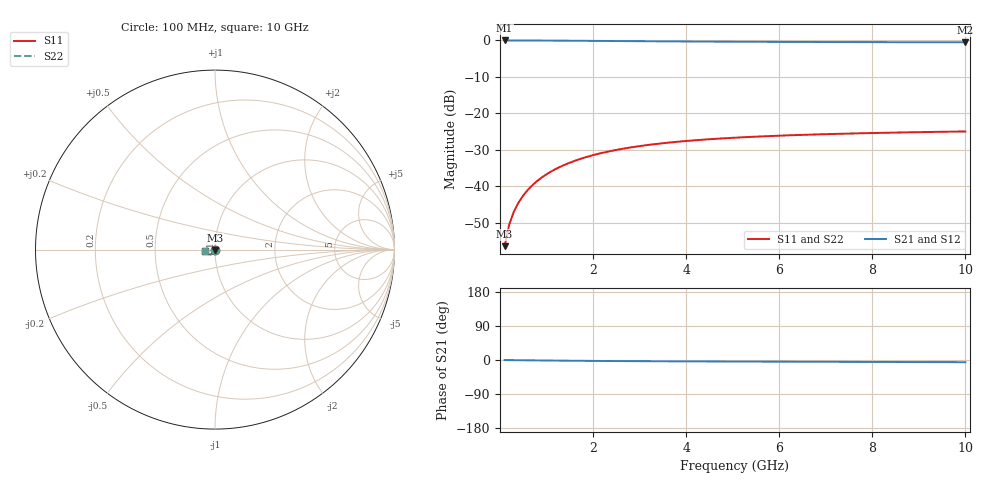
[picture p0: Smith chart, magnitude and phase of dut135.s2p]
! Touchstone file exported from HFSS 2024.1.0
!  File:  C:/UserFiles/LocalFiles/RDL_TSV_Batchsim/temp_TSV1_135_1778754125.aedt
!  Generated:  06:26:50 PM May 14, 2026
!  Design:  TSV1
!  Project:  temp_TSV1_135_1778754125
!  Setup:  Setup1
!  Solution:  Sweep
! Variables:
!  dtsv = 10.45um
!  hbump = 3um
!  htsv = 91.95um
!  lrdl = 252.1521522um
!  p = 40
!  p1 = 45.28um
!  t = 500um
!  trdl = 3um
!  wrdl = 24.89489489um
# GHz S MA R 50.000000
! Terminal data exported
! Port[1] = TSV22_T1
! Port[2] = TSV22_T2
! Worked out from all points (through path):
!   100 points, 100 MHz to 10 GHz, reference 50 ohm
!   highest |S21| = 0.00 dB at 100 MHz (marker M1); lowest = -0.5 dB at 10 GHz (marker M2)
!   lowest |S11| = -56.5 dB at 100 MHz (marker M3), VSWR 1.00, Z = 50 - j0.149 ohm
!   |S11| at or under -10 dB: start of sweep to end of sweep
!   |S22| runs from -56.5 to -25.0 dB; largest |S21 - S12| = 4e-15
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0.1  0.001497 -86.0  0.9998 -0.1  0.9998 -0.1  0.001497 -86.0
! Gamma 0 0 0 0
! Port Impedance 50 0 50 0
0.2  0.002983 -90.2  0.9997 -0.3  0.9997 -0.3  0.002983 -90.2
0.3  0.004472 -92.7  0.9994 -0.4  0.9994 -0.4  0.004472 -92.7
0.4  0.005955 -94.8  0.9991 -0.6  0.9991 -0.6  0.005955 -94.8
0.5  0.00743 -96.7  0.9987 -0.7  0.9987 -0.7  0.00743 -96.7
0.6  0.008891 -98.5  0.9983 -0.8  0.9983 -0.8  0.008891 -98.5
0.7  0.01033 -100.2  0.9977 -1.0  0.9977 -1.0  0.01033 -100.2
0.8  0.01176 -101.9  0.9971 -1.1  0.9971 -1.1  0.01176 -101.9
0.9  0.01316 -103.5  0.9965 -1.2  0.9965 -1.2  0.01316 -103.5
1.1  0.01588 -106.7  0.995 -1.4  0.995 -1.4  0.01588 -106.7
1.4  0.01975 -111.3  0.9924 -1.8  0.9924 -1.8  0.01975 -111.3
1.6  0.02216 -114.2  0.9906 -2.0  0.9906 -2.0  0.02216 -114.2
1.8  0.02444 -117.0  0.9886 -2.2  0.9886 -2.2  0.02444 -117.0
2.1  0.02762 -120.9  0.9856 -2.5  0.9856 -2.5  0.02762 -120.9
2.5  0.03139 -125.8  0.9815 -2.8  0.9815 -2.8  0.03139 -125.8
2.9  0.03467 -130.2  0.9775 -3.0  0.9775 -3.0  0.03467 -130.2
3.4  0.03817 -135.2  0.9729 -3.3  0.9729 -3.3  0.03817 -135.2
4.2  0.04262 -142.1  0.9664 -3.7  0.9664 -3.7  0.04262 -142.1
5.1  0.04638 -148.5  0.9604 -4.1  0.9604 -4.1  0.04638 -148.5
6.7  0.05099 -157.5  0.9526 -4.7  0.9526 -4.7  0.05099 -157.5
8.4  0.05418 -165.0  0.947 -5.2  0.947 -5.2  0.05418 -165.0
10  0.0563 -170.8  0.9433 -5.8  0.9433 -5.8  0.0563 -170.8
